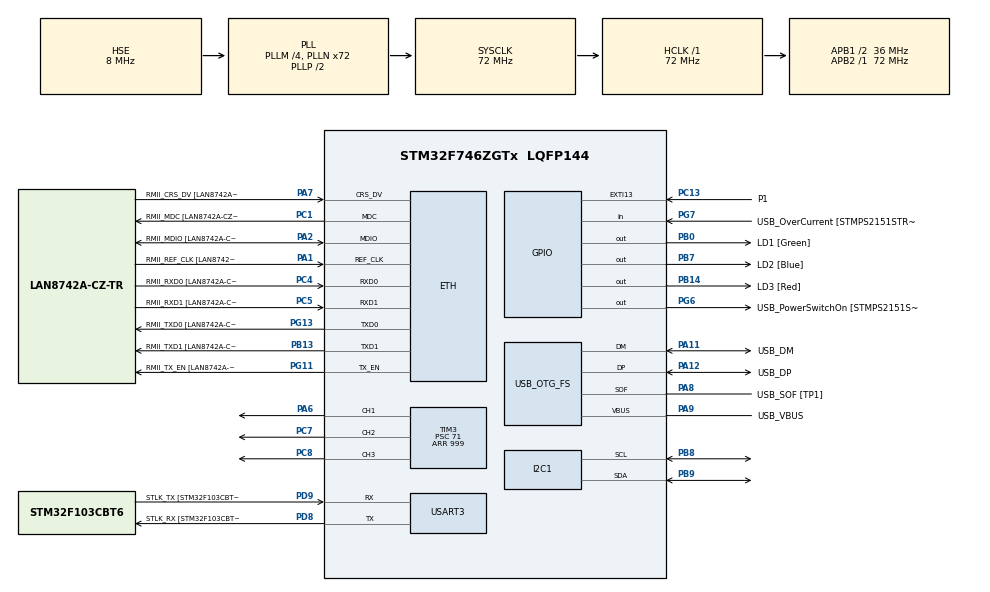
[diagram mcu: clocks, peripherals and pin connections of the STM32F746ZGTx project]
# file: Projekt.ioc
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ETH.MediaInterface=HAL_ETH_RMII_MODE
ETH.PHY_Name=LAN8742A_PHY_ADDRESS
ETH.PHY_Value=0
ETH.PhyAddress=0
I2C1.Timing=0x00808CD2
Mcu.Family=STM32F7
Mcu.Name=STM32F746ZGTx
Mcu.Package=LQFP144
NVIC.EXTI15_10_IRQn=true\:0\:0\:false\:false\:true\:true\:true\:true
NVIC.PriorityGroup=NVIC_PRIORITYGROUP_4
NVIC.TIM2_IRQn=true\:0\:0\:false\:false\:true\:true\:true\:true
NVIC.USART3_IRQn=true\:0\:0\:false\:false\:true\:true\:true\:true
PA1.GPIO_Label=RMII_REF_CLK [LAN8742A-CZ-TR_REFCLK0]
PA1.Mode=RMII
PA1.Signal=ETH_REF_CLK
PA10.GPIO_Label=USB_ID
PA10.Signal=USB_OTG_FS_ID
PA11.GPIO_Label=USB_DM
PA11.Mode=Device_Only
PA11.Signal=USB_OTG_FS_DM
PA12.GPIO_Label=USB_DP
PA12.Mode=Device_Only
PA12.Signal=USB_OTG_FS_DP
PA13.GPIO_Label=TMS
PA13.Mode=Serial_Wire
PA13.Signal=SYS_JTMS-SWDIO
PA14.GPIO_Label=TCK
PA14.Mode=Serial_Wire
PA14.Signal=SYS_JTCK-SWCLK
PA2.GPIO_Label=RMII_MDIO [LAN8742A-CZ-TR_MDIO]
PA2.Mode=RMII
PA2.Signal=ETH_MDIO
PA6.Signal=S_TIM3_CH1
PA7.GPIO_Label=RMII_CRS_DV [LAN8742A-CZ-TR_CRS_DV]
PA7.Mode=RMII
PA7.Signal=ETH_CRS_DV
PA8.GPIO_Label=USB_SOF [TP1]
PA8.Mode=Activate_SOF_FS
PA8.Signal=USB_OTG_FS_SOF
PA9.GPIO_Label=USB_VBUS
PA9.Mode=Activate_VBUS
PA9.Signal=USB_OTG_FS_VBUS
PB0.GPIO_Label=LD1 [Green]
PB0.Signal=GPIO_Output
PB13.GPIO_Label=RMII_TXD1 [LAN8742A-CZ-TR_TXD1]
PB13.Mode=RMII
PB13.Signal=ETH_TXD1
PB14.GPIO_Label=LD3 [Red]
PB14.Signal=GPIO_Output
PB3.GPIO_Label=SW0
PB3.Signal=SYS_JTDO-SWO
PB7.GPIO_Label=LD2 [Blue]
PB7.Signal=GPIO_Output
PB8.Mode=I2C
PB8.Signal=I2C1_SCL
PB9.Mode=I2C
PB9.Signal=I2C1_SDA
PC1.GPIO_Label=RMII_MDC [LAN8742A-CZ-TR_MDC]
PC1.Mode=RMII
PC1.Signal=ETH_MDC
PC13.GPIO_Label=P1
PC13.Signal=GPXTI13
PC14/OSC32_IN.Mode=LSE-External-Oscillator
PC14/OSC32_IN.Signal=RCC_OSC32_IN
PC15/OSC32_OUT.Mode=LSE-External-Oscillator
PC15/OSC32_OUT.Signal=RCC_OSC32_OUT
PC4.GPIO_Label=RMII_RXD0 [LAN8742A-CZ-TR_RXD0]
PC4.Mode=RMII
PC4.Signal=ETH_RXD0
PC5.GPIO_Label=RMII_RXD1 [LAN8742A-CZ-TR_RXD1]
PC5.Mode=RMII
PC5.Signal=ETH_RXD1
PC7.Signal=S_TIM3_CH2
PC8.Signal=S_TIM3_CH3
PD8.GPIO_Label=STLK_RX [STM32F103CBT6_PA3]
PD8.Mode=Asynchronous
PD8.Signal=USART3_TX
PD9.GPIO_Label=STLK_TX [STM32F103CBT6_PA2]
PD9.Mode=Asynchronous
PD9.Signal=USART3_RX
PG11.GPIO_Label=RMII_TX_EN [LAN8742A-CZ-TR_TXEN]
PG11.Mode=RMII
PG11.Signal=ETH_TX_EN
PG13.GPIO_Label=RMII_TXD0 [LAN8742A-CZ-TR_TXD0]
PG13.Mode=RMII
PG13.Signal=ETH_TXD0
PG6.GPIO_Label=USB_PowerSwitchOn [STMPS2151STR_EN]
PG6.Signal=GPIO_Output
PG7.GPIO_Label=USB_OverCurrent [STMPS2151STR_FAULT]
PG7.Signal=GPIO_Input
PH0/OSC_IN.GPIO_Label=MCO [STM32F103CBT6_PA8]
PH0/OSC_IN.Mode=HSE-External-Clock-Source
PH0/OSC_IN.Signal=RCC_OSC_IN
PH1/OSC_OUT.Mode=HSE-External-Clock-Source
PH1/OSC_OUT.Signal=RCC_OSC_OUT
ProjectManager.HeapSize=0x200
ProjectManager.StackSize=0x400
ProjectManager.TargetToolchain=STM32CubeIDE
RCC.48MHZClocksFreq_Value=24000000
RCC.AHBFreq_Value=72000000
RCC.APB1CLKDivider=RCC_HCLK_DIV2
RCC.APB1Freq_Value=36000000
RCC.APB1TimFreq_Value=72000000
RCC.APB2Freq_Value=72000000
RCC.APB2TimFreq_Value=72000000
RCC.CortexFreq_Value=72000000
RCC.HCLKFreq_Value=72000000
RCC.HSE_VALUE=8000000
RCC.HSI_VALUE=16000000
RCC.PLLM=4
RCC.PLLMUL=RCC_PLL_MUL9
RCC.PLLN=72
RCC.PLLQ=3
RCC.PRESCALERUSB=RCC_USBCLKSOURCE_PLL_DIV1_5
RCC.SYSCLKFreq_VALUE=72000000
RCC.SYSCLKSource=RCC_SYSCLKSOURCE_PLLCLK
RCC.SYSCLKSourceVirtual=RCC_SYSCLKSOURCE_PLLCLK
RCC.USBFreq_Value=48000000
RCC.VCOOutputFreq_Value=144000000
SH.S_TIM3_CH1.0=TIM3_CH1,PWM Generation1 CH1
SH.S_TIM3_CH2.0=TIM3_CH2,PWM Generation2 CH2
SH.S_TIM3_CH3.0=TIM3_CH3,PWM Generation3 CH3
TIM2.AutoReloadPreload=TIM_AUTORELOAD_PRELOAD_ENABLE
TIM2.Period=99999
TIM2.Prescaler=71
TIM3.AutoReloadPreload=TIM_AUTORELOAD_PRELOAD_ENABLE
TIM3.Channel-PWM\ Generation1\ CH1=TIM_CHANNEL_1
TIM3.Channel-PWM\ Generation2\ CH2=TIM_CHANNEL_2
TIM3.Channel-PWM\ Generation3\ CH3=TIM_CHANNEL_3
TIM3.Period=999
TIM3.Prescaler=71
USART3.VirtualMode-Asynchronous=VM_ASYNC
USB_OTG_FS.VirtualMode=Device_Only
VP_TIM2_VS_ClockSourceINT.Mode=Internal
VP_TIM3_VS_ClockSourceINT.Mode=Internal
board=NUCLEO-F746ZG

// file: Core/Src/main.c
/* USER CODE BEGIN Header */
/**
  ******************************************************************************
  * @file           : main.c
  * @brief          : Main program body
  ******************************************************************************
  * @attention
  *
  * Copyright (c) 2023 STMicroelectronics.
  * All rights reserved.
  *
  * This software is licensed under terms that can be found in the LICENSE file
  * in the root directory of this software component.
  * If no LICENSE file comes with this software, it is provided AS-IS.
  *
  ******************************************************************************
  */
/* USER CODE END Header */
#include "main.h"
#include "eth.h"
#include "i2c.h"
#include "tim.h"
#include "usart.h"
#include "usb_otg.h"
#include "gpio.h"

/* USER CODE BEGIN Includes */
#include "bh1750.h"
#include "regulator.h"
#include "led.h"
#include<stdio.h>
#include<math.h>
/* USER CODE END Includes */

/* USER CODE BEGIN PV */

BH1750_HandleTypeDef bh1750_1 = {
.I2C = &hi2c1, .Address_r = BH1750_GROUND_ADDR_READ, .Address_w = BH1750_GROUND_ADDR_WRITE,
.Timeout = 1000};

regulator_Handle_TypeDef reg_I = {
.Kp = 0.0f, .Ki = 0.035f, .Kd = 0.0f, .u_p = 0.0f, .u_i = 0.0f,
.u_d = 0.0f, .limitdown = 0.0f, .limitup = 100.0f};

LED_HandleTypeDef led_rgb = {
.R = 1.0f, .G = 0.0f, .B = 1.0f, .duty_R = 0.0f, .duty_G = 0.0f, .duty_B = 0.0f};

int akcja = 0;
float wartosc_zadana = 0.0f;
float natezenie_swiatla = -0.1;
char wiadomosc[23];
uint8_t komunikat1[] = "Yr: 00000 \r\n Y: 00000 \r\n RED: 00 %, Green: 00 %, Blue: 00 % \r\n";
uint16_t dl_kom;
float sygnal_sterujacy = 0.0f;
float led_R, led_G, led_B;
int pulseR = 0, pulseG = 0, pulseB = 0;
int red_percent = 0, green_percent = 0, blue_percent = 0;

/* USER CODE END PV */

void SystemClock_Config(void);

int main(void)
{

  /* MCU Configuration--------------------------------------------------------*/

  /* Reset of all peripherals, Initializes the Flash interface and the Systick. */
  HAL_Init();

  /* Configure the system clock */
  SystemClock_Config();

  /* Initialize all configured peripherals */
  MX_GPIO_Init();
  MX_ETH_Init();
  MX_USART3_UART_Init();
  MX_USB_OTG_FS_PCD_Init();
  MX_I2C1_Init();
  MX_TIM2_Init();
  MX_TIM3_Init();
  /* USER CODE BEGIN 2 */

  uint8_t TrybPracy = BH1750_CONTINOUS_H_RES_MODE ;
  BH1750_Init(&bh1750_1, TrybPracy);

  HAL_TIM_PWM_Start(&htim3, TIM_CHANNEL_1);
  HAL_TIM_PWM_Start(&htim3, TIM_CHANNEL_2);
  HAL_TIM_PWM_Start(&htim3, TIM_CHANNEL_3);
  HAL_TIM_Base_Start_IT(&htim2);

  HAL_UART_Receive_IT(&huart3, (uint8_t*)wiadomosc, 23);

  /* USER CODE END 2 */

  /* Infinite loop */
  while (1)
  {

  }
}

void SystemClock_Config(void)
{
  RCC_OscInitTypeDef RCC_OscInitStruct = {0};
  RCC_ClkInitTypeDef RCC_ClkInitStruct = {0};

  /** Configure LSE Drive Capability
  */
  HAL_PWR_EnableBkUpAccess();

  /** Configure the main internal regulator output voltage
  */
  __HAL_RCC_PWR_CLK_ENABLE();
  __HAL_PWR_VOLTAGESCALING_CONFIG(PWR_REGULATOR_VOLTAGE_SCALE3);

  /** Initializes the RCC Oscillators according to the specified parameters
  * in the RCC_OscInitTypeDef structure.
  */
  RCC_OscInitStruct.OscillatorType = RCC_OSCILLATORTYPE_HSE;
  RCC_OscInitStruct.HSEState = RCC_HSE_BYPASS;
  RCC_OscInitStruct.PLL.PLLState = RCC_PLL_ON;
  RCC_OscInitStruct.PLL.PLLSource = RCC_PLLSOURCE_HSE;
  RCC_OscInitStruct.PLL.PLLM = 4;
  RCC_OscInitStruct.PLL.PLLN = 72;
  RCC_OscInitStruct.PLL.PLLP = RCC_PLLP_DIV2;
  RCC_OscInitStruct.PLL.PLLQ = 3;
  if (HAL_RCC_OscConfig(&RCC_OscInitStruct) != HAL_OK)
  {
    Error_Handler();
  }

  /** Initializes the CPU, AHB and APB buses clocks
  */
  RCC_ClkInitStruct.ClockType = RCC_CLOCKTYPE_HCLK|RCC_CLOCKTYPE_SYSCLK
                              |RCC_CLOCKTYPE_PCLK1|RCC_CLOCKTYPE_PCLK2;
  RCC_ClkInitStruct.SYSCLKSource = RCC_SYSCLKSOURCE_PLLCLK;
  RCC_ClkInitStruct.AHBCLKDivider = RCC_SYSCLK_DIV1;
  RCC_ClkInitStruct.APB1CLKDivider = RCC_HCLK_DIV2;
  RCC_ClkInitStruct.APB2CLKDivider = RCC_HCLK_DIV1;

  if (HAL_RCC_ClockConfig(&RCC_ClkInitStruct, FLASH_LATENCY_2) != HAL_OK)
  {
    Error_Handler();
  }
}

/* USER CODE BEGIN 4 */
void HAL_UART_RxCpltCallback(UART_HandleTypeDef* huart)
{
	if(huart->Instance == USART3)
	{
		if(wiadomosc[0] == 'Y' && wiadomosc[1] == ':' && wiadomosc[5] == ',' &&
				wiadomosc[6] == 'R' && wiadomosc[7] == ':' && wiadomosc[11] == ',' &&
				wiadomosc[12] == 'G' && wiadomosc[13] == ':' && wiadomosc[17] == ',' &&
				wiadomosc[18] == 'B' && wiadomosc[19] == ':')
		{
			akcja = 1;
			sscanf (wiadomosc,"Y:%f,R:%d,G:%d,B:%d", &wartosc_zadana, &pulseR, &pulseG, &pulseB);

			if(pulseR >=0 && pulseR <= 100)
			{
				led_rgb.R = (float)(pulseR / 100.0f);
			}
			if(pulseG >=0 && pulseG <= 100)
			{
				led_rgb.G = (float)(pulseG / 100.0f);
			}
			if(pulseB >=0 && pulseB <= 100)
			{
				led_rgb.B = (float)(pulseB / 100.0f);
			}
			float sum = (float)pulseR + (float)pulseG + (float)pulseB;
			red_percent = round(100 * (float)pulseR / sum);
			green_percent = round(100 * (float)pulseG / sum);
			blue_percent = round(100 * (float)pulseB / sum);
		}
		HAL_UART_Receive_IT(&huart3, (uint8_t*)wiadomosc, 23);
	}
}

void HAL_TIM_PeriodElapsedCallback(TIM_HandleTypeDef* htim)
{
	if(htim->Instance == TIM2)
	{
		natezenie_swiatla = BH1750_ReadLux(&bh1750_1);
		if(akcja == 1)
		{
			sygnal_sterujacy = regulator_signal(&reg_I, wartosc_zadana, natezenie_swiatla);
			ColorsGenerator(&led_rgb, sygnal_sterujacy);
			__HAL_TIM_SET_COMPARE(&htim3, TIM_CHANNEL_1, (uint32_t)((led_rgb.duty_R) * 10));
			__HAL_TIM_SET_COMPARE(&htim3, TIM_CHANNEL_2, (uint32_t)((led_rgb.duty_G) * 10));
			__HAL_TIM_SET_COMPARE(&htim3, TIM_CHANNEL_3, (uint32_t)((led_rgb.duty_B) * 10));
		}
	}
}

void HAL_GPIO_EXTI_Callback(uint16_t GPIO_Pin)
{
	if(GPIO_Pin == P1_Pin)
	{
		dl_kom = sprintf((char *)komunikat1, "Yr: %f lx \r\n Y: %f lx \r\n RED: %d , Green: %d , Blue: %d \r\n Sygnal sterujacy: %f \r\n \r\n",
				wartosc_zadana, natezenie_swiatla, red_percent, green_percent, blue_percent, sygnal_sterujacy);
	    HAL_UART_Transmit(&huart3, komunikat1, dl_kom, 100);
	}
}

/* USER CODE END 4 */

void Error_Handler(void)
{
  __disable_irq();
  while (1)
  {
  }
}
